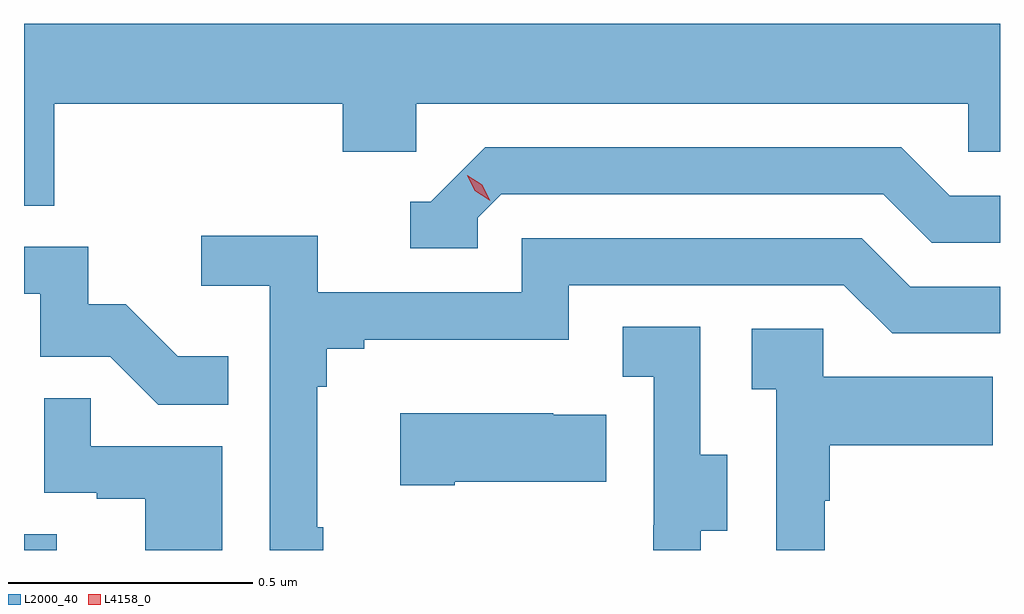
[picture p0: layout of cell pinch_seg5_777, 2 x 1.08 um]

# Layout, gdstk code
import gdstk
lib = gdstk.Library(unit=1e-6, precision=1e-09)
def R(c, l, rs):  # rectangles x0, y0, x1, y1
    for r in rs: c.add(gdstk.rectangle(r[:2], r[2:], *l))
def P(c, l, *ps):  # polygons
    for p in ps: c.add(gdstk.Polygon(p, *l))
L2000_40 = (2000, 40)
L4158_0 = (4158, 0)

pinch_seg5_777 = lib.new_cell('pinch_seg5_777')
R(pinch_seg5_777, L2000_40, [(842.64,902.466,842.707,902.498)])
P(pinch_seg5_777, L2000_40, [(842.702,903.38),(843.293,903.38),(843.293,903.282),(843.444,903.282),(843.444,903.38),(844.575,903.38),(844.575,903.282),(844.64,903.282),(844.64,903.544),(842.64,903.544),(842.64,903.172),(842.702,903.172)],
  [(843.57,903.147),(843.618,903.195),(844.401,903.195),(844.5,903.096),(844.64,903.096),(844.64,903.192),(844.537,903.192),(844.438,903.291),(843.585,903.291),(843.474,903.18),(843.431,903.18),(843.431,903.084),(843.57,903.084)],
  [(843.253,902.513),(843.241,902.513),(843.241,902.801),(843.26,902.801),(843.26,902.878),(843.337,902.878),(843.337,902.897),(843.756,902.897),(843.756,903.009),(844.32,903.009),(844.419,902.91),(844.64,902.91),(844.64,903.006),(844.456,903.006),(844.357,903.105),(843.66,903.105),(843.66,902.994),(843.242,902.994),(843.242,903.11),(843.003,903.11),(843.003,903.008),(843.144,903.008),(843.144,902.466),(843.253,902.466)],
  [(843.059,902.863),(842.955,902.863),(842.848,902.97),(842.772,902.97),(842.772,903.087),(842.64,903.087),(842.64,902.991),(842.673,902.991),(842.673,902.862),(842.817,902.862),(842.915,902.764),(843.059,902.764)],
  [(844.027,902.506),(844.081,902.506),(844.081,902.661),(844.026,902.661),(844.026,902.924),(843.867,902.924),(843.867,902.821),(843.93,902.821),(843.93,902.517),(843.929,902.517),(843.929,902.466),(844.027,902.466)],
  [(844.281,902.567),(844.291,902.567),(844.291,902.681),(844.625,902.681),(844.625,902.821),(844.278,902.821),(844.278,902.919),(844.131,902.919),(844.131,902.795),(844.182,902.795),(844.182,902.466),(844.281,902.466)],
  [(843.046,902.679),(842.777,902.679),(842.777,902.777),(842.682,902.777),(842.682,902.583),(842.789,902.583),(842.789,902.571),(842.888,902.571),(842.888,902.466),(843.046,902.466)],
  [(843.523,902.606),(843.833,902.606),(843.833,902.743),(843.725,902.743),(843.725,902.746),(843.411,902.746),(843.411,902.599),(843.523,902.599)])
P(pinch_seg5_777, L4158_0, [(843.595,903.182),(843.564,903.202),(843.548,903.234),(843.548,903.234),(843.548,903.234),(843.579,903.215),(843.595,903.182),(843.595,903.182)])

lib.write_gds('pinch_seg5_777.gds')
